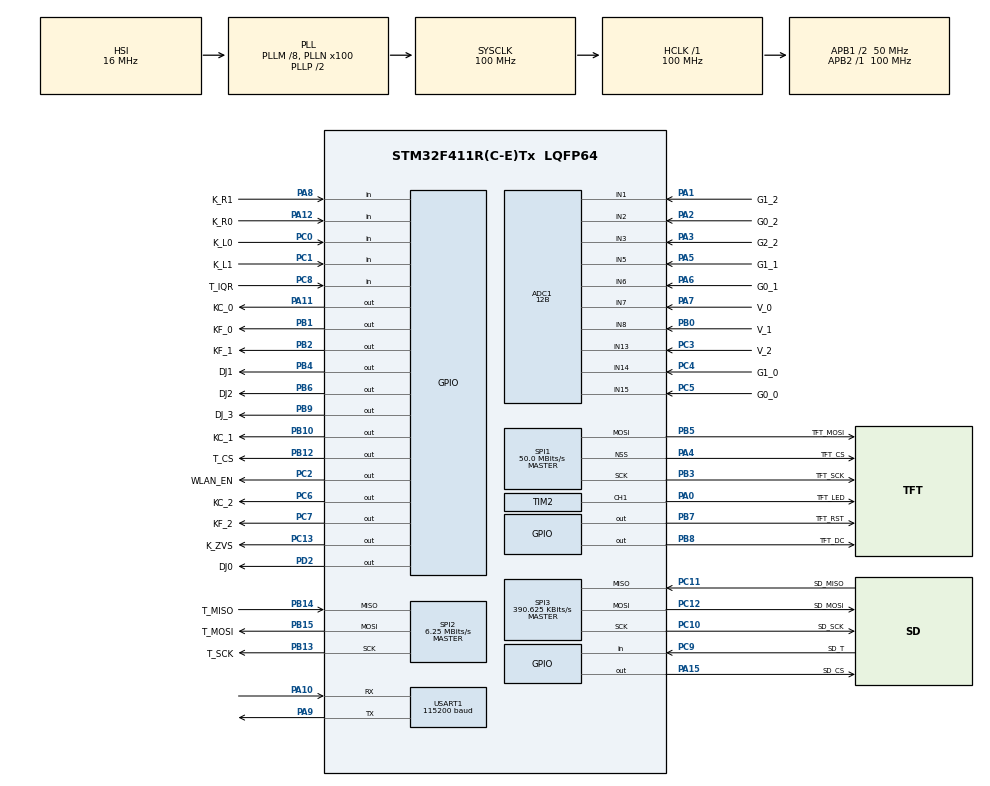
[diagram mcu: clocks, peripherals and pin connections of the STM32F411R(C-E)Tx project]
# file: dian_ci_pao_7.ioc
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ADC1.Channel-0\#ChannelRegularConversion=ADC_CHANNEL_15
ADC1.Channel-1\#ChannelRegularConversion=ADC_CHANNEL_14
ADC1.Channel-2\#ChannelRegularConversion=ADC_CHANNEL_6
ADC1.Channel-3\#ChannelRegularConversion=ADC_CHANNEL_5
ADC1.Channel-4\#ChannelRegularConversion=ADC_CHANNEL_2
ADC1.Channel-5\#ChannelRegularConversion=ADC_CHANNEL_1
ADC1.Channel-6\#ChannelRegularConversion=ADC_CHANNEL_3
ADC1.Channel-7\#ChannelRegularConversion=ADC_CHANNEL_7
ADC1.Channel-8\#ChannelRegularConversion=ADC_CHANNEL_8
ADC1.Channel-9\#ChannelRegularConversion=ADC_CHANNEL_13
ADC1.ClockPrescaler=ADC_CLOCK_SYNC_PCLK_DIV6
ADC1.ContinuousConvMode=ENABLE
ADC1.DMAContinuousRequests=ENABLE
ADC1.NbrOfConversion=10
ADC1.NbrOfConversionFlag=1
ADC1.Rank-0\#ChannelRegularConversion=1
ADC1.Rank-1\#ChannelRegularConversion=2
ADC1.Rank-2\#ChannelRegularConversion=3
ADC1.Rank-3\#ChannelRegularConversion=4
ADC1.Rank-4\#ChannelRegularConversion=5
ADC1.Rank-5\#ChannelRegularConversion=6
ADC1.Rank-6\#ChannelRegularConversion=7
ADC1.Rank-7\#ChannelRegularConversion=8
ADC1.Rank-8\#ChannelRegularConversion=9
ADC1.Rank-9\#ChannelRegularConversion=10
ADC1.Resolution=ADC_RESOLUTION_12B
ADC1.SamplingTime-0\#ChannelRegularConversion=ADC_SAMPLETIME_3CYCLES
ADC1.SamplingTime-1\#ChannelRegularConversion=ADC_SAMPLETIME_3CYCLES
ADC1.SamplingTime-2\#ChannelRegularConversion=ADC_SAMPLETIME_3CYCLES
ADC1.SamplingTime-3\#ChannelRegularConversion=ADC_SAMPLETIME_3CYCLES
ADC1.SamplingTime-4\#ChannelRegularConversion=ADC_SAMPLETIME_3CYCLES
ADC1.SamplingTime-5\#ChannelRegularConversion=ADC_SAMPLETIME_3CYCLES
ADC1.SamplingTime-6\#ChannelRegularConversion=ADC_SAMPLETIME_3CYCLES
ADC1.SamplingTime-7\#ChannelRegularConversion=ADC_SAMPLETIME_3CYCLES
ADC1.SamplingTime-8\#ChannelRegularConversion=ADC_SAMPLETIME_3CYCLES
ADC1.SamplingTime-9\#ChannelRegularConversion=ADC_SAMPLETIME_3CYCLES
ADC1.ScanConvMode=ENABLE
ADC1.master=1
Dma.ADC1.0.Direction=DMA_PERIPH_TO_MEMORY
Dma.ADC1.0.FIFOMode=DMA_FIFOMODE_DISABLE
Dma.ADC1.0.Instance=DMA2_Stream0
Dma.ADC1.0.MemDataAlignment=DMA_MDATAALIGN_HALFWORD
Dma.ADC1.0.MemInc=DMA_MINC_ENABLE
Dma.ADC1.0.Mode=DMA_CIRCULAR
Dma.ADC1.0.PeriphDataAlignment=DMA_PDATAALIGN_HALFWORD
Dma.ADC1.0.PeriphInc=DMA_PINC_DISABLE
Dma.ADC1.0.Priority=DMA_PRIORITY_LOW
Dma.Request0=ADC1
Dma.Request1=USART1_RX
Dma.Request2=USART1_TX
Dma.Request3=SPI1_TX
Dma.Request4=SPI3_TX
Dma.Request5=SPI3_RX
Dma.SPI1_TX.3.Direction=DMA_MEMORY_TO_PERIPH
Dma.SPI1_TX.3.FIFOMode=DMA_FIFOMODE_DISABLE
Dma.SPI1_TX.3.Instance=DMA2_Stream2
Dma.SPI1_TX.3.MemDataAlignment=DMA_MDATAALIGN_HALFWORD
Dma.SPI1_TX.3.MemInc=DMA_MINC_ENABLE
Dma.SPI1_TX.3.Mode=DMA_NORMAL
Dma.SPI1_TX.3.PeriphDataAlignment=DMA_PDATAALIGN_HALFWORD
Dma.SPI1_TX.3.PeriphInc=DMA_PINC_DISABLE
Dma.SPI1_TX.3.Priority=DMA_PRIORITY_VERY_HIGH
Dma.SPI3_RX.5.Direction=DMA_PERIPH_TO_MEMORY
Dma.SPI3_RX.5.FIFOMode=DMA_FIFOMODE_DISABLE
Dma.SPI3_RX.5.Instance=DMA1_Stream2
Dma.SPI3_RX.5.MemDataAlignment=DMA_MDATAALIGN_BYTE
Dma.SPI3_RX.5.MemInc=DMA_MINC_ENABLE
Dma.SPI3_RX.5.Mode=DMA_NORMAL
Dma.SPI3_RX.5.PeriphDataAlignment=DMA_PDATAALIGN_BYTE
Dma.SPI3_RX.5.PeriphInc=DMA_PINC_DISABLE
Dma.SPI3_RX.5.Priority=DMA_PRIORITY_LOW
Dma.SPI3_TX.4.Direction=DMA_MEMORY_TO_PERIPH
Dma.SPI3_TX.4.FIFOMode=DMA_FIFOMODE_DISABLE
Dma.SPI3_TX.4.Instance=DMA1_Stream5
Dma.SPI3_TX.4.MemDataAlignment=DMA_MDATAALIGN_BYTE
Dma.SPI3_TX.4.MemInc=DMA_MINC_ENABLE
Dma.SPI3_TX.4.Mode=DMA_NORMAL
Dma.SPI3_TX.4.PeriphDataAlignment=DMA_PDATAALIGN_BYTE
Dma.SPI3_TX.4.PeriphInc=DMA_PINC_DISABLE
Dma.SPI3_TX.4.Priority=DMA_PRIORITY_LOW
Dma.USART1_RX.1.Direction=DMA_PERIPH_TO_MEMORY
Dma.USART1_RX.1.FIFOMode=DMA_FIFOMODE_DISABLE
Dma.USART1_RX.1.Instance=DMA2_Stream5
Dma.USART1_RX.1.MemDataAlignment=DMA_MDATAALIGN_BYTE
Dma.USART1_RX.1.MemInc=DMA_MINC_ENABLE
Dma.USART1_RX.1.Mode=DMA_CIRCULAR
Dma.USART1_RX.1.PeriphDataAlignment=DMA_PDATAALIGN_BYTE
Dma.USART1_RX.1.PeriphInc=DMA_PINC_DISABLE
Dma.USART1_RX.1.Priority=DMA_PRIORITY_LOW
Dma.USART1_TX.2.Direction=DMA_MEMORY_TO_PERIPH
Dma.USART1_TX.2.FIFOMode=DMA_FIFOMODE_DISABLE
Dma.USART1_TX.2.Instance=DMA2_Stream7
Dma.USART1_TX.2.MemDataAlignment=DMA_MDATAALIGN_BYTE
Dma.USART1_TX.2.MemInc=DMA_MINC_ENABLE
Dma.USART1_TX.2.Mode=DMA_NORMAL
Dma.USART1_TX.2.PeriphDataAlignment=DMA_PDATAALIGN_BYTE
Dma.USART1_TX.2.PeriphInc=DMA_PINC_DISABLE
Dma.USART1_TX.2.Priority=DMA_PRIORITY_LOW
FATFS._CODE_PAGE=936
FATFS._USE_FORWARD=0
FATFS._USE_LFN=2
Mcu.Family=STM32F4
Mcu.Name=STM32F411R(C-E)Tx
Mcu.Package=LQFP64
NVIC.ADC_IRQn=true\:0\:0\:false\:false\:true\:true\:true
NVIC.DMA1_Stream2_IRQn=true\:0\:0\:false\:false\:true\:false\:true
NVIC.DMA1_Stream5_IRQn=true\:0\:0\:false\:false\:true\:false\:true
NVIC.DMA2_Stream0_IRQn=true\:0\:0\:false\:false\:true\:false\:true
NVIC.DMA2_Stream2_IRQn=true\:0\:0\:false\:false\:true\:false\:true
NVIC.DMA2_Stream5_IRQn=true\:0\:0\:false\:false\:true\:false\:true
NVIC.DMA2_Stream7_IRQn=true\:0\:0\:false\:false\:true\:false\:true
NVIC.PriorityGroup=NVIC_PRIORITYGROUP_4
NVIC.TIM4_IRQn=true\:0\:0\:false\:false\:true\:true\:true
NVIC.USART1_IRQn=true\:0\:0\:false\:false\:true\:true\:true
PA0-WKUP.GPIO_Label=TFT_LED
PA0-WKUP.Signal=S_TIM2_CH1_ETR
PA1.GPIO_Label=G1_2
PA1.Signal=ADCx_IN1
PA10.Mode=Asynchronous
PA10.Signal=USART1_RX
PA11.GPIO_Label=KC_0
PA11.GPIO_PuPd=GPIO_PULLUP
PA11.PinState=GPIO_PIN_RESET
PA11.Signal=GPIO_Output
PA12.GPIO_Label=K_R0
PA12.GPIO_Mode=GPIO_MODE_INPUT
PA12.GPIO_PuPd=GPIO_PULLUP
PA12.Signal=GPIO_Input
PA13.Mode=Serial_Wire
PA13.Signal=SYS_JTMS-SWDIO
PA14.Mode=Serial_Wire
PA14.Signal=SYS_JTCK-SWCLK
PA15.GPIO_Label=SD_CS
PA15.GPIO_PuPd=GPIO_NOPULL
PA15.GPIO_Speed=GPIO_SPEED_FREQ_VERY_HIGH
PA15.PinState=GPIO_PIN_SET
PA15.Signal=GPIO_Output
PA2.GPIO_Label=G0_2
PA2.Signal=ADCx_IN2
PA3.GPIO_Label=G2_2
PA3.Signal=ADCx_IN3
PA4.GPIO_Label=TFT_CS
PA4.Mode=NSS_Signal_Hard_Output
PA4.Signal=SPI1_NSS
PA5.GPIO_Label=G1_1
PA5.Signal=ADCx_IN5
PA6.GPIO_Label=G0_1
PA6.Signal=ADCx_IN6
PA7.GPIO_Label=V_0
PA7.Signal=ADCx_IN7
PA8.GPIO_Label=K_R1
PA8.GPIO_Mode=GPIO_MODE_INPUT
PA8.GPIO_PuPd=GPIO_PULLUP
PA8.Signal=GPIO_Input
PA9.Mode=Asynchronous
PA9.Signal=USART1_TX
PB0.GPIO_Label=V_1
PB0.Signal=ADCx_IN8
PB1.GPIO_Label=KF_0
PB1.GPIO_ModeDefaultOutputPP=GPIO_MODE_OUTPUT_PP
PB1.GPIO_PuPd=GPIO_PULLUP
PB1.PinState=GPIO_PIN_SET
PB1.Signal=GPIO_Output
PB10.GPIO_Label=KC_1
PB10.GPIO_PuPd=GPIO_PULLUP
PB10.PinState=GPIO_PIN_RESET
PB10.Signal=GPIO_Output
PB12.GPIO_Label=T_CS
PB12.GPIO_Speed=GPIO_SPEED_FREQ_VERY_HIGH
PB12.Signal=GPIO_Output
PB13.GPIO_Label=T_SCK
PB13.Mode=Full_Duplex_Master
PB13.Signal=SPI2_SCK
PB14.GPIO_Label=T_MISO
PB14.Mode=Full_Duplex_Master
PB14.Signal=SPI2_MISO
PB15.GPIO_Label=T_MOSI
PB15.Mode=Full_Duplex_Master
PB15.Signal=SPI2_MOSI
PB2.GPIO_Label=KF_1
PB2.GPIO_ModeDefaultOutputPP=GPIO_MODE_OUTPUT_PP
PB2.GPIO_PuPd=GPIO_PULLUP
PB2.PinState=GPIO_PIN_SET
PB2.Signal=GPIO_Output
PB3.GPIO_Label=TFT_SCK
PB3.Mode=TX_Only_Simplex_Unidirect_Master
PB3.Signal=SPI1_SCK
PB4.GPIO_Label=DJ1
PB4.GPIO_PuPd=GPIO_PULLDOWN
PB4.Signal=GPIO_Output
PB5.GPIO_Label=TFT_MOSI
PB5.Mode=TX_Only_Simplex_Unidirect_Master
PB5.Signal=SPI1_MOSI
PB6.GPIO_Label=DJ2
PB6.GPIO_PuPd=GPIO_PULLDOWN
PB6.Signal=GPIO_Output
PB7.GPIO_Label=TFT_RST
PB7.GPIO_Speed=GPIO_SPEED_FREQ_VERY_HIGH
PB7.Signal=GPIO_Output
PB8.GPIO_Label=TFT_DC
PB8.GPIO_Speed=GPIO_SPEED_FREQ_VERY_HIGH
PB8.Signal=GPIO_Output
PB9.GPIO_Label=DJ_3
PB9.Signal=GPIO_Output
PC0.GPIO_Label=K_L0
PC0.GPIO_Mode=GPIO_MODE_INPUT
PC0.GPIO_PuPd=GPIO_PULLUP
PC0.Signal=GPIO_Input
PC1.GPIO_Label=K_L1
PC1.GPIO_Mode=GPIO_MODE_INPUT
PC1.GPIO_PuPd=GPIO_PULLUP
PC1.Signal=GPIO_Input
PC10.GPIO_Label=SD_SCK
PC10.Mode=Full_Duplex_Master
PC10.Signal=SPI3_SCK
PC11.GPIO_Label=SD_MISO
PC11.Mode=Full_Duplex_Master
PC11.Signal=SPI3_MISO
PC12.GPIO_Label=SD_MOSI
PC12.Mode=Full_Duplex_Master
PC12.Signal=SPI3_MOSI
PC13-ANTI_TAMP.GPIO_Label=K_ZVS
PC13-ANTI_TAMP.GPIO_PuPd=GPIO_PULLDOWN
PC13-ANTI_TAMP.Signal=GPIO_Output
PC14-OSC32_IN.Mode=LSE-External-Oscillator
PC14-OSC32_IN.Signal=RCC_OSC32_IN
PC15-OSC32_OUT.Mode=LSE-External-Oscillator
PC15-OSC32_OUT.Signal=RCC_OSC32_OUT
PC2.GPIO_Label=WLAN_EN
PC2.GPIO_PuPd=GPIO_PULLUP
PC2.Signal=GPIO_Output
PC3.GPIO_Label=V_2
PC3.Signal=ADCx_IN13
PC4.GPIO_Label=G1_0
PC4.Signal=ADCx_IN14
PC5.GPIO_Label=G0_0
PC5.Signal=ADCx_IN15
PC6.GPIO_Label=KC_2
PC6.GPIO_PuPd=GPIO_PULLUP
PC6.PinState=GPIO_PIN_RESET
PC6.Signal=GPIO_Output
PC7.GPIO_Label=KF_2
PC7.GPIO_ModeDefaultOutputPP=GPIO_MODE_OUTPUT_PP
PC7.GPIO_PuPd=GPIO_PULLUP
PC7.PinState=GPIO_PIN_SET
PC7.Signal=GPIO_Output
PC8.GPIO_Label=T_IQR
PC8.GPIO_PuPd=GPIO_PULLUP
PC8.Signal=GPIO_Input
PC9.GPIO_Label=SD_T
PC9.GPIO_PuPd=GPIO_PULLUP
PC9.Signal=GPIO_Input
PD2.GPIO_Label=DJ0
PD2.GPIO_PuPd=GPIO_PULLDOWN
PD2.Signal=GPIO_Output
PH0\ -\ OSC_IN.Mode=HSE-External-Oscillator
PH0\ -\ OSC_IN.Signal=RCC_OSC_IN
PH1\ -\ OSC_OUT.Mode=HSE-External-Oscillator
PH1\ -\ OSC_OUT.Signal=RCC_OSC_OUT
ProjectManager.HeapSize=0x2000
ProjectManager.StackSize=0x2000
ProjectManager.TargetToolchain=MDK-ARM V5
RCC.48MHZClocksFreq_Value=40000000
RCC.AHBFreq_Value=100000000
RCC.APB1CLKDivider=RCC_HCLK_DIV2
RCC.APB1Freq_Value=50000000
RCC.APB1TimFreq_Value=100000000
RCC.APB2Freq_Value=100000000
RCC.APB2TimFreq_Value=100000000
RCC.CortexFreq_Value=100000000
RCC.HCLKFreq_Value=100000000
RCC.HSE_VALUE=25000000
RCC.HSI_VALUE=16000000
RCC.PLLM=8
RCC.PLLN=100
RCC.PLLQ=5
RCC.SYSCLKFreq_VALUE=100000000
RCC.SYSCLKSource=RCC_SYSCLKSOURCE_PLLCLK
RCC.VCOOutputFreq_Value=200000000
SH.ADCx_IN1.0=ADC1_IN1,IN1
SH.ADCx_IN13.0=ADC1_IN13,IN13
SH.ADCx_IN14.0=ADC1_IN14,IN14
SH.ADCx_IN15.0=ADC1_IN15,IN15
SH.ADCx_IN2.0=ADC1_IN2,IN2
SH.ADCx_IN3.0=ADC1_IN3,IN3
SH.ADCx_IN5.0=ADC1_IN5,IN5
SH.ADCx_IN6.0=ADC1_IN6,IN6
SH.ADCx_IN7.0=ADC1_IN7,IN7
SH.ADCx_IN8.0=ADC1_IN8,IN8
SH.S_TIM2_CH1_ETR.0=TIM2_CH1,PWM Generation1 CH1
SPI1.BaudRatePrescaler=SPI_BAUDRATEPRESCALER_2
SPI1.CalculateBaudRate=50.0 MBits/s
SPI1.DataSize=SPI_DATASIZE_8BIT
SPI1.Direction=SPI_DIRECTION_2LINES
SPI1.Mode=SPI_MODE_MASTER
SPI1.VirtualNSS=VM_NSSHARD
SPI1.VirtualType=VM_MASTER
SPI2.BaudRatePrescaler=SPI_BAUDRATEPRESCALER_8
SPI2.CalculateBaudRate=6.25 MBits/s
SPI2.DataSize=SPI_DATASIZE_16BIT
SPI2.Direction=SPI_DIRECTION_2LINES
SPI2.Mode=SPI_MODE_MASTER
SPI2.VirtualNSS=VM_NSSHARD
SPI2.VirtualType=VM_MASTER
SPI3.BaudRatePrescaler=SPI_BAUDRATEPRESCALER_128
SPI3.CLKPhase=SPI_PHASE_2EDGE
SPI3.CLKPolarity=SPI_POLARITY_HIGH
SPI3.CRCCalculation=SPI_CRCCALCULATION_DISABLE
SPI3.CalculateBaudRate=390.625 KBits/s
SPI3.Direction=SPI_DIRECTION_2LINES
SPI3.Mode=SPI_MODE_MASTER
SPI3.VirtualType=VM_MASTER
TIM1.Prescaler=10000-1
TIM2.Channel-PWM\ Generation1\ CH1=TIM_CHANNEL_1
TIM2.OCPolarity_1=TIM_OCPOLARITY_LOW
TIM2.Period=100-1
TIM2.Prescaler=1000-1
TIM2.Pulse-PWM\ Generation1\ CH1=0
TIM3.Channel-PWM\ Generation3\ CH3=TIM_CHANNEL_3
TIM3.Prescaler=10000-1
TIM4.AutoReloadPreload=TIM_AUTORELOAD_PRELOAD_ENABLE
TIM4.Period=1000-1
TIM4.Prescaler=100-1
TIM5.Prescaler=100-1
USART1.BaudRate=115200
USART1.VirtualMode=VM_ASYNC
VP_FATFS_VS_Generic.Mode=User_defined
VP_TIM1_VS_ClockSourceINT.Mode=Internal
VP_TIM2_VS_ClockSourceINT.Mode=Internal
VP_TIM3_VS_ClockSourceINT.Mode=Internal
VP_TIM4_VS_ClockSourceINT.Mode=Internal
VP_TIM5_VS_ClockSourceINT.Mode=Internal
board=custom

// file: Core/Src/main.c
/* USER CODE BEGIN Header */
/**
  ******************************************************************************
  * @file           : main.c
  * @brief          : Main program body
  ******************************************************************************
  * @attention
  *
  * <h2><center>&copy; Copyright (c) 2021 STMicroelectronics.
  * All rights reserved.</center></h2>
  *
  * This software component is licensed by ST under BSD 3-Clause license,
  * the "License"; You may not use this file except in compliance with the
  * License. You may obtain a copy of the License at:
  *                        opensource.org/licenses/BSD-3-Clause
  *
  ******************************************************************************
  */
/* USER CODE END Header */
#include "main.h"
#include "adc.h"
#include "dma.h"
#include "fatfs.h"
#include "spi.h"
#include "tim.h"
#include "usart.h"
#include "gpio.h"

/* USER CODE BEGIN Includes */
#include "lcd.h"
#include "lv_port_disp.h"
#include "lv_port_indev.h"
#include "lv_port_fs.h"
#include "lv_ex_conf.h"
#include "lv_obj_style_dec.h"
#include "lv_conf.h"
#include "lv_demo_widgets.h"
#include "stdio.h"
#include "touch.h"
#include "lv_demo_stress.h"
#include "lv_app.h"
#include "wlan.h"
#include "sd.h"
#include "Fire.h"
/* USER CODE END Includes */

/* USER CODE BEGIN PTD */
///////////////////////////////ESP/////////////////////////////
uint8_t test_sign=1;
///////////////////////////////ADC/////////////////////////////
uint16_t adcData[10]={0};
/* USER CODE END PTD */

void SystemClock_Config(void);

/* USER CODE BEGIN 0 */
/////////////////////////////////////    LVGL_时钟    ///////////////////////////////////
void HAL_TIM_PeriodElapsedCallback(TIM_HandleTypeDef *htim)
{
    if (htim == (&htim4))
    {
        lv_tick_inc(1);
    }
}
/* USER CODE END 0 */

int main(void)
{

  /* MCU Configuration--------------------------------------------------------*/

  /* Reset of all peripherals, Initializes the Flash interface and the Systick. */
  HAL_Init();

  /* Configure the system clock */
  SystemClock_Config();

  /* Initialize all configured peripherals */
  MX_GPIO_Init();
  MX_DMA_Init();
  MX_ADC1_Init();
  MX_SPI1_Init();
  MX_SPI2_Init();
  MX_TIM2_Init();
  MX_TIM3_Init();
  MX_TIM4_Init();
  MX_TIM5_Init();
  MX_SPI3_Init();
  MX_TIM1_Init();
  MX_USART1_UART_Init();
  MX_FATFS_Init();
  /* USER CODE BEGIN 2 */
/////////////////////////////////////    TIM1_ESP    ///////////////////////////////////
//	HAL_TIM_Base_Start(&htim1);
/////////////////////////////////////    TIM2_PWM    ///////////////////////////////////
	HAL_TIM_PWM_Start(&htim2,TIM_CHANNEL_1);
/////////////////////////////////////    TIM3_Vaalue   ///////////////////////////////////
	HAL_TIM_Base_Start(&htim3);
/////////////////////////////////////    TIM4_LVGL   ///////////////////////////////////
	HAL_TIM_Base_Start_IT(&htim4);
/////////////////////////////////////    TIM5_Fire   ///////////////////////////////////
//	HAL_TIM_Base_Start(&htim5);
/////////////////////////////////////    ADC1_Fire   ///////////////////////////////////
	HAL_ADC_Start_DMA(&hadc1,(uint32_t*)adcData,10);
/////////////////////////////////////    SD_Init     ///////////////////////////////////
	if(HAL_GPIO_ReadPin(GPIOC,GPIO_PIN_9)==GPIO_PIN_RESET&&sd_init_sign==0)		SD_Init();
	else if(HAL_GPIO_ReadPin(GPIOC,GPIO_PIN_9)==GPIO_PIN_SET)									sd_init_sign=0;
/////////////////////////////////////    LCD_Init    ///////////////////////////////////
	LCD_Init();
/////////////////////////////////////    TOUCH_Init  ///////////////////////////////////
	HAL_GPIO_WritePin(GPIOB,GPIO_PIN_12,GPIO_PIN_RESET); //CS
	send_16way(0x80);
	HAL_GPIO_WritePin(GPIOB,GPIO_PIN_12,GPIO_PIN_SET);
/////////////////////////////////////   LVGL_Init   ////////////////////////////////////
	lv_init();
	lv_port_disp_init();
	lv_port_indev_init();
	lv_port_fs_init();
	FATFS ffs;
	FRESULT fres = FR_NOT_READY;
	fres = f_mount(&ffs, "0:/", 0);
	lv_demo_myself();

//	lv_demo_widgets();
//	lv_demo_stress();

//	lv_fs_file_t lv_file;
//  lv_fs_res_t  lv_res;
//	lv_res = lv_fs_open( &lv_file, "0:/test2.txt", LV_FS_MODE_RD );
//	if ( lv_res != LV_FS_RES_OK ) {
//		char string[10];
//		sprintf(string,"LVGL FS open error. (%d)\n", lv_res);
//		lv_textarea_add_text(ta1, string);
//	} else {
//		char string[10];
//		sprintf(string,"LVGL FS open Ok\n");
//		lv_textarea_add_text(ta1, string);
//	}
//	lv_fs_close(&lv_file);
  /* USER CODE END 2 */

  /* Infinite loop */
  /* USER CODE BEGIN WHILE */
  while (1)
  {
		CS();
		lv_task_handler();
		ESP_Init();

		if(HAL_GPIO_ReadPin(GPIOC,GPIO_PIN_9)==GPIO_PIN_RESET&&sd_init_sign==0)		SD_Init();
		else if(HAL_GPIO_ReadPin(GPIOC,GPIO_PIN_9)==GPIO_PIN_SET)									sd_init_sign=0;

		CS();

    /* USER CODE END WHILE */

    /* USER CODE BEGIN 3 */
		if(recv_end_flag == 1)  //接收完成标志
		{
			static char string[200];
			static char *ready="ready";
			static uint8_t add_sign=0;
			sprintf(string,"%s",rx_buffer);

			if(test_sign==1)
			{
				if(strstr(string,ready)!=NULL) 	add_sign=1;
				else 	add_sign=0;
			}

			if(add_sign==1)
			{
				control_test_0(string);
//				control_test_1(string);
				lv_textarea_add_text(ta1, string);
				test_sign=0;
			}

			memset(rx_buffer,0,rx_len);
			memset(string,'\0',rx_len);
			rx_len = 0;//清除计数
			recv_end_flag = 0;//清除接收结束标志
    }
		HAL_UART_Receive_DMA(&huart1,rx_buffer,BUFFER_SIZE);//重新打开DMA接收
  }
  /* USER CODE END 3 */
}

void SystemClock_Config(void)
{
  RCC_OscInitTypeDef RCC_OscInitStruct = {0};
  RCC_ClkInitTypeDef RCC_ClkInitStruct = {0};

  /** Configure the main internal regulator output voltage
  */
  __HAL_RCC_PWR_CLK_ENABLE();
  __HAL_PWR_VOLTAGESCALING_CONFIG(PWR_REGULATOR_VOLTAGE_SCALE1);
  /** Initializes the RCC Oscillators according to the specified parameters
  * in the RCC_OscInitTypeDef structure.
  */
  RCC_OscInitStruct.OscillatorType = RCC_OSCILLATORTYPE_HSI;
  RCC_OscInitStruct.HSIState = RCC_HSI_ON;
  RCC_OscInitStruct.HSICalibrationValue = RCC_HSICALIBRATION_DEFAULT;
  RCC_OscInitStruct.PLL.PLLState = RCC_PLL_ON;
  RCC_OscInitStruct.PLL.PLLSource = RCC_PLLSOURCE_HSI;
  RCC_OscInitStruct.PLL.PLLM = 8;
  RCC_OscInitStruct.PLL.PLLN = 100;
  RCC_OscInitStruct.PLL.PLLP = RCC_PLLP_DIV2;
  RCC_OscInitStruct.PLL.PLLQ = 5;
  if (HAL_RCC_OscConfig(&RCC_OscInitStruct) != HAL_OK)
  {
    Error_Handler();
  }
  /** Initializes the CPU, AHB and APB buses clocks
  */
  RCC_ClkInitStruct.ClockType = RCC_CLOCKTYPE_HCLK|RCC_CLOCKTYPE_SYSCLK
                              |RCC_CLOCKTYPE_PCLK1|RCC_CLOCKTYPE_PCLK2;
  RCC_ClkInitStruct.SYSCLKSource = RCC_SYSCLKSOURCE_PLLCLK;
  RCC_ClkInitStruct.AHBCLKDivider = RCC_SYSCLK_DIV1;
  RCC_ClkInitStruct.APB1CLKDivider = RCC_HCLK_DIV2;
  RCC_ClkInitStruct.APB2CLKDivider = RCC_HCLK_DIV1;

  if (HAL_RCC_ClockConfig(&RCC_ClkInitStruct, FLASH_LATENCY_3) != HAL_OK)
  {
    Error_Handler();
  }
}

void Error_Handler(void)
{
  __disable_irq();
  while (1)
  {
  }
}

/************************ (C) COPYRIGHT STMicroelectronics *****END OF FILE****/
